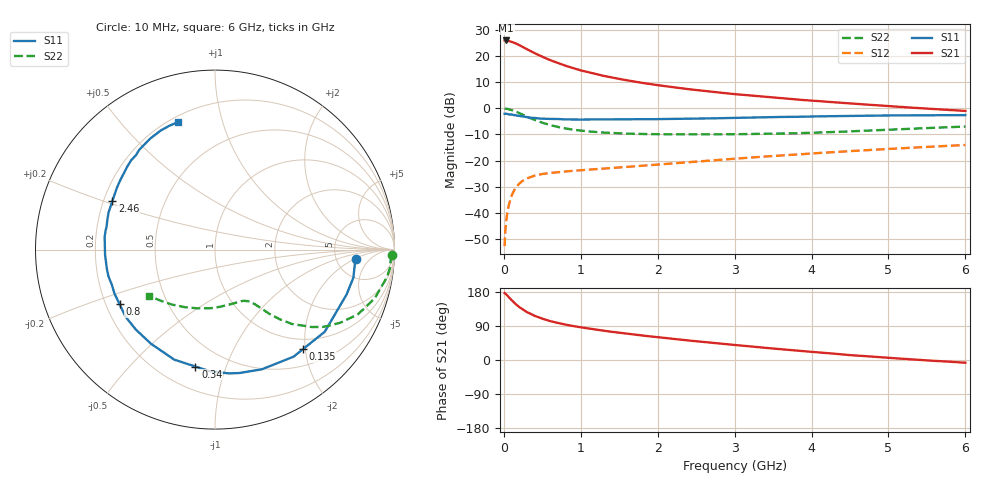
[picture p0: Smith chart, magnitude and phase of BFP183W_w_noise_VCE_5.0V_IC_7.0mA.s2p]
! Infineon Technologies  Discrete & RF Semiconductors
! BFP183W
! VCE = 5.0 V,  IC =  7.0 mA
! Common Emitter S-Parameters:  Jan 2016
# GHz  S  MA  R  50
!  f  S11  S21  S12  S22
! GHz  MAG  ANG  MAG  ANG  MAG  ANG  MAG  ANG
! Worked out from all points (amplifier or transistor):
!   210 points, 10 MHz to 6 GHz, reference 50 ohm
!   highest |S21| = 25.9 dB at 30 MHz (marker M1)
!   |S21| within 3 dB of that: start of sweep to 278.8 MHz
!   unconditionally stable (mu >= 1): 1.6 GHz to 5.498 GHz
!   at 185 MHz: K = 0.17, MSG = 26.9 dB, |S12| = -29.3 dB
!   at 1.52 GHz: K = 0.98, MSG = 16.9 dB, |S12| = -22.6 dB
!   at 6 GHz: K = 0.97, MSG = 6.5 dB, |S12| = -14.0 dB
!   lowest NFmin = 1.25 dB at 450 MHz
!   S11 on the Smith chart (normalised r, x): 10 MHz: 7.74, -2.10; 135 MHz: 0.80, -1.96; 340 MHz: 0.34, -0.79; 800 MHz: 0.26, -0.25; 2.46 GHz: 0.24, +0.21; 6 GHz: 0.23, +0.73
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0.01  0.7853 -3.8  19.8 176.8  0.0023 92.0  0.988 -1.7
0.03  0.7868 -11.4  19.83 173.2  0.0067 85.2  0.9819 -5.4
0.05  0.7747 -18.8  19.59 168.7  0.0111 81.7  0.9714 -8.9
0.1  0.7638 -36.8  18.71 158.2  0.0211 72.0  0.9311 -16.9
0.135  0.7403 -48.5  17.85 151.3  0.0271 65.7  0.8896 -22.1
0.15  0.7401 -53.7  17.57 148.2  0.0297 63.8  0.8741 -24.4
0.2  0.7161 -68.7  16.17 139.7  0.036 57.8  0.8101 -30.1
0.26  0.694 -83.6  14.55 131.5  0.0423 51.5  0.737 -35.8
0.3  0.6776 -92.6  13.5 126.3  0.0454 48.1  0.6898 -38.7
0.34  0.6605 -99.5  12.59 122.8  0.0477 45.6  0.6521 -40.6
0.4  0.6539 -110.3  11.34 116.5  0.0514 42.2  0.5971 -44.0
0.5  0.6343 -124.2  9.656 108.8  0.0553 38.6  0.5275 -47.2
0.6  0.627 -134.7  8.344 102.7  0.0577 36.4  0.477 -49.4
0.8  0.6124 -150.3  6.511 93.4  0.0618 34.7  0.4109 -52.1
1.02  0.6079 -162.3  5.22 85.7  0.0655 34.2  0.3708 -54.4
1.42  0.6131 -178.0  3.834 74.0  0.0724 35.9  0.3359 -58.6
2.02  0.6217 164.8  2.742 59.8  0.0841 39.3  0.3191 -66.6
2.46  0.6329 154.8  2.268 50.3  0.0943 40.9  0.3166 -73.9
3.1  0.6577 142.1  1.812 37.9  0.1111 41.9  0.3201 -86.0
4.1  0.7007 125.9  1.368 19.9  0.1394 40.6  0.3436 -108.2
5.1  0.7295 113.9  1.074 4.4  0.1697 37.2  0.3937 -130.0
6  0.7399 106.1  0.89 -7.2  0.1984 33.5  0.4476 -145.1
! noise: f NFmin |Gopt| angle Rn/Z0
0.45  1.25  0.18  42  0.22
0.9  1.3  0.22  110  0.2
1.8  2  0.33  180  0.14
